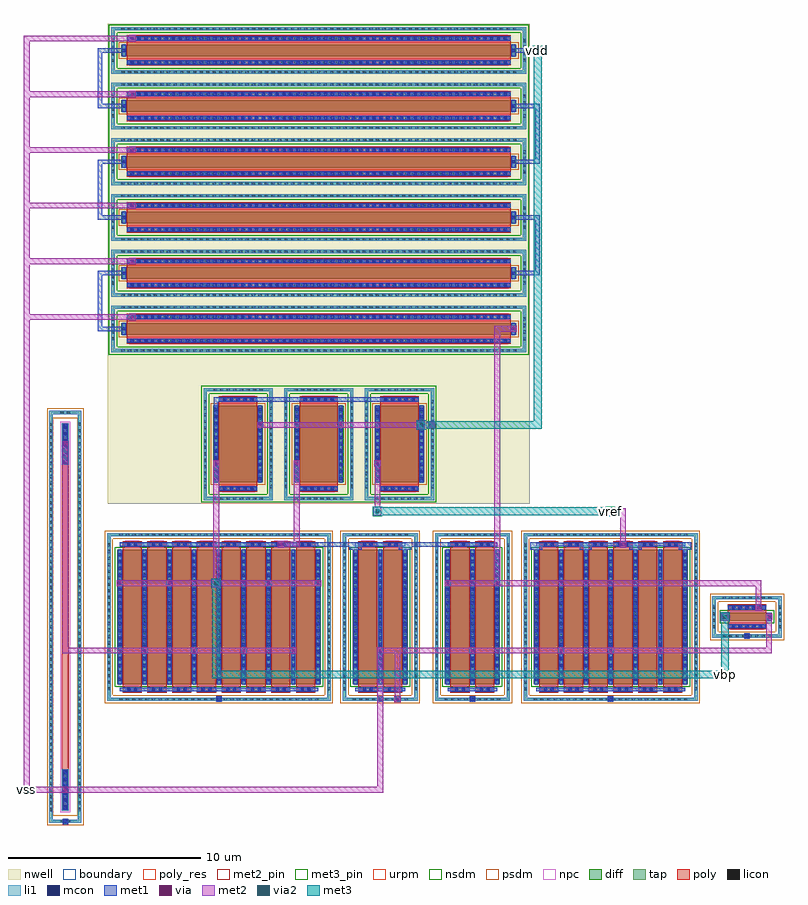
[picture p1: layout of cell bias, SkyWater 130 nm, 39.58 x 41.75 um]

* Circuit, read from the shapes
.subckt bias vbp vdd vref vss
XM1 rxh_16_0/R1 p4_2_11/D vbp vss sky130_fd_pr__nfet_01v8 w=7 l=1 m=8
XM2 vss p4_2_11/D p4_2_11/D vss sky130_fd_pr__nfet_01v8 w=7 l=1 m=2
XM3 vss p4_2_11/D p06_20_8/D vss sky130_fd_pr__nfet_01v8 w=7 l=1 m=2
XM4 vss vref vref vss sky130_fd_pr__nfet_01v8 w=7 l=1 m=6
XM5 vss p06_20_8/D vbp vss sky130_fd_pr__nfet_01v8 w=0.42 l=2
XM6 p06_20_8/D vss p06_20_7/D vdd sky130_fd_pr__pfet_01v8 w=0.6 l=20
XM7 p06_20_6/D vss p06_20_7/D vdd sky130_fd_pr__pfet_01v8 w=0.6 l=20
XM8 p06_20_6/D vss p06_20_5/D vdd sky130_fd_pr__pfet_01v8 w=0.6 l=20
XM9 p06_20_4/D vss p06_20_5/D vdd sky130_fd_pr__pfet_01v8 w=0.6 l=20
XM10 p06_20_4/D vss p06_20_3/D vdd sky130_fd_pr__pfet_01v8 w=0.6 l=20
XM11 vdd vss p06_20_3/D vdd sky130_fd_pr__pfet_01v8 w=0.6 l=20
XM12 vdd vbp vbp vdd sky130_fd_pr__pfet_01v8 w=4 l=2
XM13 vdd vbp p4_2_11/D vdd sky130_fd_pr__pfet_01v8 w=4 l=2
XM14 vdd vbp vref vdd sky130_fd_pr__pfet_01v8 w=4 l=2
XR15 rxh_16_0/R1 vss vss sky130_fd_pr__res_xhigh_po w=0.35 l=15.88
.ends

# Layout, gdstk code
from math import pi, radians
import gdstk
lib = gdstk.Library(unit=1e-6, precision=1e-09)
def R(c, l, rs):  # rectangles x0, y0, x1, y1
    for r in rs: c.add(gdstk.rectangle(r[:2], r[2:], *l))
def A(c, l, x, y, w, h, nx, ny, dx, dy):  # array of equal rectangles
    R(c, l, [(x+i*dx, y+j*dy, x+i*dx+w, y+j*dy+h) for i in range(nx) for j in range(ny)])
nwell = (64, 20)
diff = (65, 20)
tap = (65, 44)
poly_res = (66, 13)
poly = (66, 20)
licon = (66, 44)
li1 = (67, 20)
mcon = (67, 44)
met1 = (68, 20)
via = (68, 44)
met2_pin = (69, 16)
met2 = (69, 20)
via2 = (69, 44)
met3_pin = (70, 16)
met3 = (70, 20)
urpm = (79, 20)
nsdm = (93, 44)
psdm = (94, 20)
npc = (95, 20)
boundary = (235, 4)

rxh_16 = lib.new_cell('rxh_16')
R(rxh_16, tap, [(-0.825,-10.73,0.825,-10.56), (-0.825,-10.56,-0.655,10.56), (0.655,-10.56,0.825,10.56), (-0.825,10.56,0.825,10.73)])
R(rxh_16, poly_res, [(-0.175,-8,0.175,8)])
R(rxh_16, poly, [(-0.175,-10.08,0.175,10.08)])
A(rxh_16, licon, -0.825, -10.115, 0.17, 0.17, 1, 60, 0, 0.34)
A(rxh_16, licon, 0.655, -10.115, 0.17, 0.17, 1, 60, 0, 0.34)
R(rxh_16, licon, [(-0.255,-10.73,-0.085,-10.56), (0.085,-10.73,0.255,-10.56), (-0.095,-10,0.095,-8), (-0.095,8,0.095,10), (-0.255,10.56,-0.085,10.73), (0.085,10.56,0.255,10.73)])
R(rxh_16, li1, [(-0.825,-10.73,0.825,-10.56), (-0.825,-10.56,-0.655,10.56), (0.655,-10.56,0.825,10.56), (-0.175,-10.08,0.175,-7.92), (-0.175,7.92,0.175,10.08), (-0.825,10.56,0.825,10.73)])
A(rxh_16, mcon, -0.085, -9.985, 0.17, 0.17, 1, 6, 0, 0.36)
A(rxh_16, mcon, -0.085, 8.01, 0.17, 0.17, 1, 6, 0, 0.36)
R(rxh_16, met1, [(-0.125,-10.05,0.125,-7.945), (-0.125,7.945,0.125,10.05)])
R(rxh_16, urpm, [(-0.65,-10.36,0.65,10.36)])
R(rxh_16, psdm, [(-0.95,-10.855,0.95,10.855)])
R(rxh_16, npc, [(-0.27,-10.175,0.27,10.175)])
R(rxh_16, boundary, [(-0.74,-10.645,0.74,10.645)])
rxh_16.add(gdstk.Label('B', (0,-10.645), layer=67, texttype=5))
rxh_16.add(gdstk.Label('R1', (0,9.905), layer=67, texttype=5))
rxh_16.add(gdstk.Label('R2', (0,-9.905), layer=67, texttype=5))

n042_2 = lib.new_cell('n042_2')
R(n042_2, diff, [(-1.29,-0.21,1.29,0.21)])
R(n042_2, tap, [(-1.8,-1.08,1.8,-0.91), (-1.8,-0.91,-1.63,0.91), (1.63,-0.91,1.8,0.91), (-1.8,0.91,1.8,1.08)])
R(n042_2, poly, [(-1,-0.65,1,0.65)])
A(n042_2, licon, -1.275, -1.08, 0.17, 0.17, 8, 2, 0.34, 1.99)
A(n042_2, licon, -1.8, -0.595, 0.17, 0.17, 1, 4, 0, 0.34)
A(n042_2, licon, 1.63, -0.595, 0.17, 0.17, 1, 4, 0, 0.34)
A(n042_2, licon, -0.765, -0.57, 0.17, 0.17, 5, 2, 0.34, 0.97)
R(n042_2, licon, [(-1.23,-0.085,-1.06,0.085), (1.06,-0.085,1.23,0.085)])
R(n042_2, li1, [(-1.8,-1.08,1.8,-0.91), (-1.8,-0.91,-1.63,0.91), (1.63,-0.91,1.8,0.91), (-1,-0.57,1,-0.4), (-1.23,-0.23,-1.06,0.23), (1.06,-0.23,1.23,0.23), (-1,0.4,1,0.57), (-1.8,0.91,1.8,1.08)])
A(n042_2, mcon, -0.805, -0.57, 0.17, 0.17, 5, 2, 0.36, 0.97)
R(n042_2, mcon, [(-1.23,-0.085,-1.06,0.085), (1.06,-0.085,1.23,0.085)])
R(n042_2, met1, [(-0.98,-0.6,0.98,-0.37), (-1.26,-0.21,-1.03,0.21), (1.03,-0.21,1.26,0.21), (-0.98,0.37,0.98,0.6)])
R(n042_2, nsdm, [(-1.415,-0.335,1.415,0.335)])
R(n042_2, psdm, [(-1.925,-1.205,1.925,-0.785), (-1.925,-0.785,-1.505,0.785), (1.505,-0.785,1.925,0.785), (-1.925,0.785,1.925,1.205)])
R(n042_2, npc, [(-0.865,-0.67,0.865,-0.3), (-0.865,0.3,0.865,0.67)])
R(n042_2, boundary, [(-1.715,-0.995,1.715,0.995)])
n042_2.add(gdstk.Label('B', (0,-0.995), layer=67, texttype=5))
n042_2.add(gdstk.Label('D', (-1.145,0), layer=67, texttype=5))
n042_2.add(gdstk.Label('S', (1.145,0), layer=67, texttype=5))
n042_2.add(gdstk.Label('G', (0,0.485), layer=67, texttype=5))

n7_1_nf2 = lib.new_cell('n7_1_nf2')
R(n7_1_nf2, diff, [(-1.435,-3.5,1.435,3.5)])
R(n7_1_nf2, tap, [(-1.945,-4.37,1.945,-4.2), (-1.945,-4.2,-1.775,4.2), (1.775,-4.2,1.945,4.2), (-1.945,4.2,1.945,4.37)])
R(n7_1_nf2, poly, [(-1.145,-3.94,-0.145,3.94), (0.145,-3.94,1.145,3.94)])
A(n7_1_nf2, licon, -1.445, -4.37, 0.17, 0.17, 9, 2, 0.34, 8.57)
A(n7_1_nf2, licon, -1.945, -3.825, 0.17, 0.17, 1, 23, 0, 0.34)
A(n7_1_nf2, licon, 1.775, -3.825, 0.17, 0.17, 1, 23, 0, 0.34)
A(n7_1_nf2, licon, -1.375, -3.315, 0.17, 0.17, 3, 20, 1.29, 0.34)
R(n7_1_nf2, licon, [(-0.9,-3.86,-0.73,-3.69), (-0.56,-3.86,-0.39,-3.69), (0.39,-3.86,0.56,-3.69), (0.73,-3.86,0.9,-3.69), (-0.9,3.69,-0.73,3.86), (-0.56,3.69,-0.39,3.86), (0.39,3.69,0.56,3.86), (0.73,3.69,0.9,3.86)])
A(n7_1_nf2, li1, -1.375, -3.52, 0.17, 7.04, 3, 1, 1.29, 0)
R(n7_1_nf2, li1, [(-1.945,-4.37,1.945,-4.2), (-1.945,-4.2,-1.775,4.2), (1.775,-4.2,1.945,4.2), (-1.29,-3.86,1.29,-3.69), (-1.29,3.69,1.29,3.86), (-1.945,4.2,1.945,4.37)])
A(n7_1_nf2, mcon, -1.375, -3.325, 0.17, 0.17, 3, 19, 1.29, 0.36)
R(n7_1_nf2, mcon, [(-0.91,-3.86,-0.74,-3.69), (-0.55,-3.86,-0.38,-3.69), (0.38,-3.86,0.55,-3.69), (0.74,-3.86,0.91,-3.69), (-0.91,3.69,-0.74,3.86), (-0.55,3.69,-0.38,3.86), (0.38,3.69,0.55,3.86), (0.74,3.69,0.91,3.86)])
A(n7_1_nf2, met1, -1.405, -3.5, 0.23, 7, 3, 1, 1.29, 0)
R(n7_1_nf2, met1, [(-1.125,-3.89,-0.165,-3.86), (0.165,-3.89,1.125,-3.86), (-1.29,-3.86,1.29,-3.69), (-1.125,-3.69,-0.165,-3.66), (0.165,-3.69,1.125,-3.66), (-1.125,3.66,-0.165,3.69), (0.165,3.66,1.125,3.69), (-1.29,3.69,1.29,3.86), (-1.125,3.86,-0.165,3.89), (0.165,3.86,1.125,3.89)])
R(n7_1_nf2, nsdm, [(-1.56,-3.625,1.56,3.625)])
R(n7_1_nf2, psdm, [(-2.07,-4.495,2.07,-4.075), (-2.07,-4.075,-1.65,4.075), (1.65,-4.075,2.07,4.075), (-2.07,4.075,2.07,4.495)])
R(n7_1_nf2, npc, [(-1,-3.96,-0.29,-3.59), (0.29,-3.96,1,-3.59), (-1,3.59,-0.29,3.96), (0.29,3.59,1,3.96)])
R(n7_1_nf2, boundary, [(-1.86,-4.285,1.86,4.285)])
n7_1_nf2.add(gdstk.Label('B', (0,-4.285), layer=67, texttype=5))
n7_1_nf2.add(gdstk.Label('D0', (-1.29,0), layer=67, texttype=5))
n7_1_nf2.add(gdstk.Label('G', (0.645,3.775), layer=67, texttype=5))
n7_1_nf2.add(gdstk.Label('G', (-0.645,3.775), layer=67, texttype=5))
n7_1_nf2.add(gdstk.Label('S1', (0,0), layer=67, texttype=5))

p06_20 = lib.new_cell('p06_20')
R(p06_20, nwell, [(-10.98,-1.395,10.98,1.395)])
R(p06_20, diff, [(-10.29,-0.3,10.29,0.3)])
R(p06_20, tap, [(-10.8,-1.215,10.8,-1.045), (-10.8,-1.045,-10.63,1.045), (10.63,-1.045,10.8,1.045), (-10.8,1.045,10.8,1.215)])
R(p06_20, poly, [(-10,-0.785,10,0.785)])
A(p06_20, licon, -10.285, -1.215, 0.17, 0.17, 61, 2, 0.34, 2.26)
A(p06_20, licon, -9.775, -0.705, 0.17, 0.17, 58, 2, 0.34, 1.24)
A(p06_20, licon, -10.8, -0.595, 0.17, 0.17, 1, 4, 0, 0.34)
A(p06_20, licon, 10.63, -0.595, 0.17, 0.17, 1, 4, 0, 0.34)
R(p06_20, licon, [(-10.23,-0.085,-10.06,0.085), (10.06,-0.085,10.23,0.085)])
R(p06_20, li1, [(-10.8,-1.215,10.8,-1.045), (-10.8,-1.045,-10.63,1.045), (10.63,-1.045,10.8,1.045), (-10,-0.705,10,-0.535), (-10.23,-0.32,-10.06,0.32), (10.06,-0.32,10.23,0.32), (-10,0.535,10,0.705), (-10.8,1.045,10.8,1.215)])
A(p06_20, mcon, -9.805, -0.705, 0.17, 0.17, 55, 2, 0.36, 1.24)
R(p06_20, mcon, [(-10.23,-0.085,-10.06,0.085), (10.06,-0.085,10.23,0.085)])
R(p06_20, met1, [(-9.98,-0.735,9.98,-0.505), (-10.26,-0.3,-10.03,0.3), (10.03,-0.3,10.26,0.3), (-9.98,0.505,9.98,0.735)])
R(p06_20, nsdm, [(-10.925,-1.34,10.925,-0.92), (-10.925,-0.92,-10.505,0.92), (10.505,-0.92,10.925,0.92), (-10.925,0.92,10.925,1.34)])
R(p06_20, psdm, [(-10.415,-0.425,10.415,0.425)])
R(p06_20, npc, [(-9.875,-0.805,9.875,-0.435), (-9.875,0.435,9.875,0.805)])
R(p06_20, boundary, [(-10.715,-1.13,10.715,1.13)])
p06_20.add(gdstk.Label('B', (0,-1.13), layer=67, texttype=5))
p06_20.add(gdstk.Label('D', (-10.145,0), layer=67, texttype=5))
p06_20.add(gdstk.Label('S', (10.145,0), layer=67, texttype=5))
p06_20.add(gdstk.Label('G', (0,0.62), layer=67, texttype=5))

n7_1_nf6 = lib.new_cell('n7_1_nf6')
R(n7_1_nf6, diff, [(-4.015,-3.5,4.015,3.5)])
R(n7_1_nf6, tap, [(-4.525,-4.37,4.525,-4.2), (-4.525,-4.2,-4.355,4.2), (4.355,-4.2,4.525,4.2), (-4.525,4.2,4.525,4.37)])
A(n7_1_nf6, poly, -3.725, -3.94, 1, 7.88, 6, 1, 1.29, 0)
A(n7_1_nf6, licon, -3.995, -4.37, 0.17, 0.17, 24, 2, 0.34, 8.57)
A(n7_1_nf6, licon, -4.525, -3.825, 0.17, 0.17, 1, 23, 0, 0.34)
A(n7_1_nf6, licon, 4.355, -3.825, 0.17, 0.17, 1, 23, 0, 0.34)
A(n7_1_nf6, licon, -3.955, -3.315, 0.17, 0.17, 7, 20, 1.29, 0.34)
R(n7_1_nf6, licon, [(-3.48,-3.86,-3.31,-3.69), (-3.14,-3.86,-2.97,-3.69), (-2.19,-3.86,-2.02,-3.69), (-1.85,-3.86,-1.68,-3.69), (-0.9,-3.86,-0.73,-3.69), (-0.56,-3.86,-0.39,-3.69), (0.39,-3.86,0.56,-3.69), (0.73,-3.86,0.9,-3.69), (1.68,-3.86,1.85,-3.69), (2.02,-3.86,2.19,-3.69), (2.97,-3.86,3.14,-3.69), (3.31,-3.86,3.48,-3.69), (-3.48,3.69,-3.31,3.86), (-3.14,3.69,-2.97,3.86), (-2.19,3.69,-2.02,3.86), (-1.85,3.69,-1.68,3.86), (-0.9,3.69,-0.73,3.86), (-0.56,3.69,-0.39,3.86), (0.39,3.69,0.56,3.86), (0.73,3.69,0.9,3.86), (1.68,3.69,1.85,3.86), (2.02,3.69,2.19,3.86), (2.97,3.69,3.14,3.86), (3.31,3.69,3.48,3.86)])
A(n7_1_nf6, li1, -3.955, -3.52, 0.17, 7.04, 7, 1, 1.29, 0)
R(n7_1_nf6, li1, [(-4.525,-4.37,4.525,-4.2), (-4.525,-4.2,-4.355,4.2), (4.355,-4.2,4.525,4.2), (-3.87,-3.86,3.87,-3.69), (-3.87,3.69,3.87,3.86), (-4.525,4.2,4.525,4.37)])
A(n7_1_nf6, mcon, -3.955, -3.325, 0.17, 0.17, 7, 19, 1.29, 0.36)
R(n7_1_nf6, mcon, [(-3.49,-3.86,-3.32,-3.69), (-3.13,-3.86,-2.96,-3.69), (-2.2,-3.86,-2.03,-3.69), (-1.84,-3.86,-1.67,-3.69), (-0.91,-3.86,-0.74,-3.69), (-0.55,-3.86,-0.38,-3.69), (0.38,-3.86,0.55,-3.69), (0.74,-3.86,0.91,-3.69), (1.67,-3.86,1.84,-3.69), (2.03,-3.86,2.2,-3.69), (2.96,-3.86,3.13,-3.69), (3.32,-3.86,3.49,-3.69), (-3.49,3.69,-3.32,3.86), (-3.13,3.69,-2.96,3.86), (-2.2,3.69,-2.03,3.86), (-1.84,3.69,-1.67,3.86), (-0.91,3.69,-0.74,3.86), (-0.55,3.69,-0.38,3.86), (0.38,3.69,0.55,3.86), (0.74,3.69,0.91,3.86), (1.67,3.69,1.84,3.86), (2.03,3.69,2.2,3.86), (2.96,3.69,3.13,3.86), (3.32,3.69,3.49,3.86)])
A(n7_1_nf6, met1, -3.705, -3.89, 0.96, 0.03, 6, 2, 1.29, 0.2)
A(n7_1_nf6, met1, -3.985, -3.5, 0.23, 7, 7, 1, 1.29, 0)
A(n7_1_nf6, met1, -3.705, 3.66, 0.96, 0.03, 6, 2, 1.29, 0.2)
R(n7_1_nf6, met1, [(-3.87,-3.86,3.87,-3.69), (-3.87,3.69,3.87,3.86)])
R(n7_1_nf6, nsdm, [(-4.14,-3.625,4.14,3.625)])
R(n7_1_nf6, psdm, [(-4.65,-4.495,4.65,-4.075), (-4.65,-4.075,-4.23,4.075), (4.23,-4.075,4.65,4.075), (-4.65,4.075,4.65,4.495)])
A(n7_1_nf6, npc, -3.58, -3.96, 0.71, 0.37, 6, 2, 1.29, 7.55)
R(n7_1_nf6, boundary, [(-4.44,-4.285,4.44,4.285)])
n7_1_nf6.add(gdstk.Label('B', (0,-4.285), layer=67, texttype=5))
n7_1_nf6.add(gdstk.Label('D0', (-3.87,0), layer=67, texttype=5))
n7_1_nf6.add(gdstk.Label('G', (3.225,3.775), layer=67, texttype=5))
n7_1_nf6.add(gdstk.Label('G', (1.935,3.775), layer=67, texttype=5))
n7_1_nf6.add(gdstk.Label('G', (0.645,3.775), layer=67, texttype=5))
n7_1_nf6.add(gdstk.Label('G', (-0.645,3.775), layer=67, texttype=5))
n7_1_nf6.add(gdstk.Label('G', (-1.935,3.775), layer=67, texttype=5))
n7_1_nf6.add(gdstk.Label('G', (-3.225,3.775), layer=67, texttype=5))
n7_1_nf6.add(gdstk.Label('S1', (-2.58,0), layer=67, texttype=5))
n7_1_nf6.add(gdstk.Label('D2', (-1.29,0), layer=67, texttype=5))
n7_1_nf6.add(gdstk.Label('S3', (0,0), layer=67, texttype=5))
n7_1_nf6.add(gdstk.Label('D4', (1.29,0), layer=67, texttype=5))
n7_1_nf6.add(gdstk.Label('S5', (2.58,0), layer=67, texttype=5))

p4_2 = lib.new_cell('p4_2')
R(p4_2, nwell, [(-1.98,-3.095,1.98,3.095)])
R(p4_2, diff, [(-1.29,-2,1.29,2)])
R(p4_2, tap, [(-1.8,-2.915,1.8,-2.745), (-1.8,-2.745,-1.63,2.745), (1.63,-2.745,1.8,2.745), (-1.8,2.745,1.8,2.915)])
R(p4_2, poly, [(-1,-2.485,1,2.485)])
A(p4_2, licon, -1.275, -2.915, 0.17, 0.17, 8, 2, 0.34, 5.66)
A(p4_2, licon, -0.765, -2.405, 0.17, 0.17, 5, 2, 0.34, 4.64)
A(p4_2, licon, -1.8, -2.295, 0.17, 0.17, 1, 14, 0, 0.34)
A(p4_2, licon, 1.63, -2.295, 0.17, 0.17, 1, 14, 0, 0.34)
A(p4_2, licon, -1.23, -1.785, 0.17, 0.17, 1, 11, 0, 0.34)
A(p4_2, licon, 1.06, -1.785, 0.17, 0.17, 1, 11, 0, 0.34)
R(p4_2, li1, [(-1.8,-2.915,1.8,-2.745), (-1.8,-2.745,-1.63,2.745), (1.63,-2.745,1.8,2.745), (-1,-2.405,1,-2.235), (-1.23,-2.02,-1.06,2.02), (1.06,-2.02,1.23,2.02), (-1,2.235,1,2.405), (-1.8,2.745,1.8,2.915)])
A(p4_2, mcon, -0.805, -2.405, 0.17, 0.17, 5, 2, 0.36, 4.64)
A(p4_2, mcon, -1.23, -1.885, 0.17, 0.17, 1, 11, 0, 0.36)
A(p4_2, mcon, 1.06, -1.885, 0.17, 0.17, 1, 11, 0, 0.36)
R(p4_2, met1, [(-0.98,-2.435,0.98,-2.205), (-1.26,-2,-1.03,2), (1.03,-2,1.26,2), (-0.98,2.205,0.98,2.435)])
R(p4_2, nsdm, [(-1.925,-3.04,1.925,-2.62), (-1.925,-2.62,-1.505,2.62), (1.505,-2.62,1.925,2.62), (-1.925,2.62,1.925,3.04)])
R(p4_2, psdm, [(-1.415,-2.125,1.415,2.125)])
R(p4_2, npc, [(-0.865,-2.505,0.865,-2.135), (-0.865,2.135,0.865,2.505)])
R(p4_2, boundary, [(-1.715,-2.83,1.715,2.83)])
p4_2.add(gdstk.Label('B', (0,-2.83), layer=67, texttype=5))
p4_2.add(gdstk.Label('D', (-1.145,0), layer=67, texttype=5))
p4_2.add(gdstk.Label('S', (1.145,0), layer=67, texttype=5))
p4_2.add(gdstk.Label('G', (0,2.32), layer=67, texttype=5))

n7_1_nf8 = lib.new_cell('n7_1_nf8')
R(n7_1_nf8, diff, [(-5.305,-3.5,5.305,3.5)])
R(n7_1_nf8, tap, [(-5.815,-4.37,5.815,-4.2), (-5.815,-4.2,-5.645,4.2), (5.645,-4.2,5.815,4.2), (-5.815,4.2,5.815,4.37)])
A(n7_1_nf8, poly, -5.015, -3.94, 1, 7.88, 8, 1, 1.29, 0)
A(n7_1_nf8, licon, -5.185, -4.37, 0.17, 0.17, 31, 2, 0.34, 8.57)
A(n7_1_nf8, licon, -5.815, -3.825, 0.17, 0.17, 1, 23, 0, 0.34)
A(n7_1_nf8, licon, 5.645, -3.825, 0.17, 0.17, 1, 23, 0, 0.34)
A(n7_1_nf8, licon, -5.245, -3.315, 0.17, 0.17, 9, 20, 1.29, 0.34)
R(n7_1_nf8, licon, [(-4.77,-3.86,-4.6,-3.69), (-4.43,-3.86,-4.26,-3.69), (-3.48,-3.86,-3.31,-3.69), (-3.14,-3.86,-2.97,-3.69), (-2.19,-3.86,-2.02,-3.69), (-1.85,-3.86,-1.68,-3.69), (-0.9,-3.86,-0.73,-3.69), (-0.56,-3.86,-0.39,-3.69), (0.39,-3.86,0.56,-3.69), (0.73,-3.86,0.9,-3.69), (1.68,-3.86,1.85,-3.69), (2.02,-3.86,2.19,-3.69), (2.97,-3.86,3.14,-3.69), (3.31,-3.86,3.48,-3.69), (4.26,-3.86,4.43,-3.69), (4.6,-3.86,4.77,-3.69), (-4.77,3.69,-4.6,3.86), (-4.43,3.69,-4.26,3.86), (-3.48,3.69,-3.31,3.86), (-3.14,3.69,-2.97,3.86), (-2.19,3.69,-2.02,3.86), (-1.85,3.69,-1.68,3.86), (-0.9,3.69,-0.73,3.86), (-0.56,3.69,-0.39,3.86), (0.39,3.69,0.56,3.86), (0.73,3.69,0.9,3.86), (1.68,3.69,1.85,3.86), (2.02,3.69,2.19,3.86), (2.97,3.69,3.14,3.86), (3.31,3.69,3.48,3.86), (4.26,3.69,4.43,3.86), (4.6,3.69,4.77,3.86)])
A(n7_1_nf8, li1, -5.245, -3.52, 0.17, 7.04, 9, 1, 1.29, 0)
R(n7_1_nf8, li1, [(-5.815,-4.37,5.815,-4.2), (-5.815,-4.2,-5.645,4.2), (5.645,-4.2,5.815,4.2), (-5.16,-3.86,5.16,-3.69), (-5.16,3.69,5.16,3.86), (-5.815,4.2,5.815,4.37)])
A(n7_1_nf8, mcon, -5.245, -3.325, 0.17, 0.17, 9, 19, 1.29, 0.36)
R(n7_1_nf8, mcon, [(-4.78,-3.86,-4.61,-3.69), (-4.42,-3.86,-4.25,-3.69), (-3.49,-3.86,-3.32,-3.69), (-3.13,-3.86,-2.96,-3.69), (-2.2,-3.86,-2.03,-3.69), (-1.84,-3.86,-1.67,-3.69), (-0.91,-3.86,-0.74,-3.69), (-0.55,-3.86,-0.38,-3.69), (0.38,-3.86,0.55,-3.69), (0.74,-3.86,0.91,-3.69), (1.67,-3.86,1.84,-3.69), (2.03,-3.86,2.2,-3.69), (2.96,-3.86,3.13,-3.69), (3.32,-3.86,3.49,-3.69), (4.25,-3.86,4.42,-3.69), (4.61,-3.86,4.78,-3.69), (-4.78,3.69,-4.61,3.86), (-4.42,3.69,-4.25,3.86), (-3.49,3.69,-3.32,3.86), (-3.13,3.69,-2.96,3.86), (-2.2,3.69,-2.03,3.86), (-1.84,3.69,-1.67,3.86), (-0.91,3.69,-0.74,3.86), (-0.55,3.69,-0.38,3.86), (0.38,3.69,0.55,3.86), (0.74,3.69,0.91,3.86), (1.67,3.69,1.84,3.86), (2.03,3.69,2.2,3.86), (2.96,3.69,3.13,3.86), (3.32,3.69,3.49,3.86), (4.25,3.69,4.42,3.86), (4.61,3.69,4.78,3.86)])
A(n7_1_nf8, met1, -4.995, -3.89, 0.96, 0.03, 8, 2, 1.29, 0.2)
A(n7_1_nf8, met1, -5.275, -3.5, 0.23, 7, 9, 1, 1.29, 0)
A(n7_1_nf8, met1, -4.995, 3.66, 0.96, 0.03, 8, 2, 1.29, 0.2)
R(n7_1_nf8, met1, [(-5.16,-3.86,5.16,-3.69), (-5.16,3.69,5.16,3.86)])
R(n7_1_nf8, nsdm, [(-5.43,-3.625,5.43,3.625)])
R(n7_1_nf8, psdm, [(-5.94,-4.495,5.94,-4.075), (-5.94,-4.075,-5.52,4.075), (5.52,-4.075,5.94,4.075), (-5.94,4.075,5.94,4.495)])
A(n7_1_nf8, npc, -4.87, -3.96, 0.71, 0.37, 8, 2, 1.29, 7.55)
R(n7_1_nf8, boundary, [(-5.73,-4.285,5.73,4.285)])
n7_1_nf8.add(gdstk.Label('B', (0,-4.285), layer=67, texttype=5))
n7_1_nf8.add(gdstk.Label('D0', (-5.16,0), layer=67, texttype=5))
n7_1_nf8.add(gdstk.Label('G', (4.515,3.775), layer=67, texttype=5))
n7_1_nf8.add(gdstk.Label('G', (3.225,3.775), layer=67, texttype=5))
n7_1_nf8.add(gdstk.Label('G', (1.935,3.775), layer=67, texttype=5))
n7_1_nf8.add(gdstk.Label('G', (0.645,3.775), layer=67, texttype=5))
n7_1_nf8.add(gdstk.Label('G', (-0.645,3.775), layer=67, texttype=5))
n7_1_nf8.add(gdstk.Label('G', (-1.935,3.775), layer=67, texttype=5))
n7_1_nf8.add(gdstk.Label('G', (-3.225,3.775), layer=67, texttype=5))
n7_1_nf8.add(gdstk.Label('G', (-4.515,3.775), layer=67, texttype=5))
n7_1_nf8.add(gdstk.Label('S1', (-3.87,0), layer=67, texttype=5))
n7_1_nf8.add(gdstk.Label('D2', (-2.58,0), layer=67, texttype=5))
n7_1_nf8.add(gdstk.Label('S3', (-1.29,0), layer=67, texttype=5))
n7_1_nf8.add(gdstk.Label('D4', (0,0), layer=67, texttype=5))
n7_1_nf8.add(gdstk.Label('S5', (1.29,0), layer=67, texttype=5))
n7_1_nf8.add(gdstk.Label('D6', (2.58,0), layer=67, texttype=5))
n7_1_nf8.add(gdstk.Label('S7', (3.87,0), layer=67, texttype=5))

bias = lib.new_cell('bias')
R(bias, nwell, [(-6.78,-3.095,15.18,21.895)])
R(bias, li1, [(-9.125,-19.77,-8.875,-19.52), (-1.125,-13.41,-0.875,-13.16), (7.275,-13.41,7.525,-13.16), (8.175,-13.41,8.425,-13.16), (12.075,-13.41,12.325,-13.16), (19.275,-13.41,19.525,-13.16), (26.375,-10.12,26.625,-9.87), (9.99,0.875,10.24,1.125)])
R(bias, mcon, [(-9.085,-19.73,-8.915,-19.56), (-1.085,-13.37,-0.915,-13.2), (7.315,-13.37,7.485,-13.2), (8.215,-13.37,8.385,-13.2), (12.115,-13.37,12.285,-13.2), (19.315,-13.37,19.485,-13.2), (26.415,-10.08,26.585,-9.91), (10.03,0.915,10.2,1.085)])
A(bias, met1, -5.03, -10.91, 0.32, 0.32, 4, 1, 2.58, 0)
A(bias, met1, 16.66, -10.91, 0.32, 0.32, 3, 1, 2.58, 0)
A(bias, met1, -6.32, -7.41, 0.32, 0.32, 5, 1, 2.58, 0)
A(bias, met1, 15.215, -5.51, 0.63, 0.4, 4, 1, 2.58, 0)
A(bias, met1, -1.305, -1.16, 0.32, 0.32, 3, 1, 4.2, 0)
A(bias, met1, 0.985, 0.84, 0.32, 0.32, 3, 1, 4.2, 0)
A(bias, met1, -7.315, 5.885, 1.485, 0.23, 1, 6, 0, 2.9)
A(bias, met1, -7.315, 6.115, 0.23, 2.67, 1, 3, 0, 5.8)
A(bias, met1, -5.66, 6.46, 0.32, 0.32, 1, 6, 0, 2.9)
A(bias, met1, 14.23, 8.785, 1.485, 0.23, 1, 4, 0, 2.9)
R(bias, met1, [(-9.145,-19.79,-8.855,-19.5), (-9.16,-18.16,-8.84,-17.84), (8.14,-13.445,8.46,-13.125), (-1.145,-13.43,-0.855,-13.14), (7.255,-13.43,7.545,-13.14), (12.055,-13.43,12.345,-13.14), (19.255,-13.43,19.545,-13.14), (7.24,-10.91,7.56,-10.59), (12.04,-10.91,12.36,-10.59), (26.355,-10.14,26.645,-9.85), (25.195,-9.16,25.515,-8.84), (27.485,-9.16,27.805,-8.84), (26.94,-8.675,27.26,-8.355), (10.75,-7.41,11.07,-7.09), (13.33,-7.41,13.65,-7.09), (5.795,-5.51,6.425,-5.34), (8.375,-5.51,9.005,-5.34), (2.065,-5.385,2.385,-5.34), (19.885,-5.385,20.205,-5.065), (-6.175,-5.34,13.505,-5.11), (2.065,-5.11,2.385,-5.065), (-1.26,-2,-1.03,-1.16), (-1.26,-0.84,-1.03,2.205), (-9.16,-0.16,-8.84,0.16), (9.955,0.84,10.275,1.16), (-1.26,2.205,9.395,2.435), (14.185,5.84,14.505,6.16), (15.485,9.015,15.715,11.685), (15.485,14.815,15.715,17.485), (15.44,20.34,15.76,20.385), (14.23,20.385,15.76,20.615), (15.44,20.615,15.76,20.66)])
A(bias, via, -4.945, -10.825, 0.15, 0.15, 4, 1, 2.58, 0)
A(bias, via, 16.745, -10.825, 0.15, 0.15, 3, 1, 2.58, 0)
A(bias, via, -6.235, -7.325, 0.15, 0.15, 5, 1, 2.58, 0)
A(bias, via, -1.22, -1.075, 0.15, 0.15, 3, 1, 4.2, 0)
A(bias, via, 1.07, 0.925, 0.15, 0.15, 3, 1, 4.2, 0)
A(bias, via, -5.575, 6.545, 0.15, 0.15, 1, 6, 0, 2.9)
R(bias, via, [(-9.075,-18.075,-8.925,-17.925), (8.225,-13.36,8.375,-13.21), (7.325,-10.825,7.475,-10.675), (12.125,-10.825,12.275,-10.675), (25.28,-9.075,25.43,-8.925), (27.57,-9.075,27.72,-8.925), (27.025,-8.59,27.175,-8.44), (10.835,-7.325,10.985,-7.175), (13.415,-7.325,13.565,-7.175), (2.15,-5.3,2.3,-5.15), (19.97,-5.3,20.12,-5.15), (-9.075,-0.075,-8.925,0.075), (10.04,0.925,10.19,1.075), (14.27,5.925,14.42,6.075), (15.525,20.425,15.675,20.575)])
R(bias, met2_pin, [(-11.15,-18.15,-10.85,-17.85)])
A(bias, met2, -5.03, -10.91, 0.32, 0.01, 4, 2, 2.58, 0.31)
A(bias, met2, 16.66, -10.91, 0.32, 0.01, 3, 2, 2.58, 0.31)
A(bias, met2, -1.305, -1.16, 0.32, 0.32, 3, 1, 4.2, 0)
A(bias, met2, -11.15, 6.47, 5.81, 0.3, 1, 6, 0, 2.9)
A(bias, met2, -11.15, 6.77, 0.3, 2.6, 1, 5, 0, 2.9)
R(bias, met2, [(-9.16,-18.16,-8.84,-18.15), (-11.15,-18.15,7.55,-17.85), (-11.15,-17.85,-10.85,6.47), (-9.16,-17.85,-8.84,-17.84), (7.25,-17.85,7.55,-10.91), (8.14,-13.445,8.46,-13.125), (8.15,-13.125,8.45,-10.9), (7.24,-10.91,7.56,-10.9), (12.04,-10.91,12.36,-10.9), (-9.15,-10.9,3.03,-10.6), (7.24,-10.9,27.795,-10.6), (-9.15,-10.6,-8.85,-0.16), (7.24,-10.6,7.56,-10.59), (12.04,-10.6,12.36,-10.59), (27.495,-10.6,27.795,-9.16), (25.145,-9.21,25.565,-8.79), (27.485,-9.16,27.805,-8.84), (26.94,-8.675,27.26,-8.355), (26.95,-8.355,27.25,-7.4), (-1.355,-7.46,-0.935,-7.41), (-6.32,-7.41,-6,-7.4), (-3.74,-7.41,-3.42,-7.4), (-1.355,-7.41,-0.84,-7.4), (1.42,-7.41,1.74,-7.4), (4,-7.41,4.32,-7.4), (10.75,-7.41,11.07,-7.4), (13.33,-7.41,13.65,-7.4), (-6.32,-7.4,4.32,-7.1), (10.75,-7.4,27.25,-7.1), (-6.32,-7.1,-6,-7.09), (-3.74,-7.1,-3.42,-7.09), (-1.355,-7.1,-0.84,-7.09), (1.42,-7.1,1.74,-7.09), (4,-7.1,4.32,-7.09), (10.75,-7.1,11.07,-7.09), (13.33,-7.1,13.65,-7.09), (-1.355,-7.09,-0.935,-7.04), (13.34,-7.09,13.64,5.85), (-1.295,-7.04,-0.995,-1.16), (2.065,-5.385,2.385,-5.375), (19.885,-5.385,20.205,-5.065), (2.065,-5.375,3.205,-5.075), (2.065,-5.075,2.385,-5.065), (2.905,-5.075,3.205,-1.16), (19.895,-5.065,20.195,-3.65), (7.045,-3.71,7.465,-3.29), (19.19,-3.71,19.61,-3.65), (19.19,-3.65,20.195,-3.35), (19.19,-3.35,19.61,-3.29), (7.105,-3.29,7.405,-1.16), (-9.16,-0.16,-8.84,0.16), (9.335,0.79,9.755,0.85), (0.985,0.84,1.305,0.85), (5.185,0.84,5.505,0.85), (9.955,0.84,10.275,0.85), (0.985,0.85,10.275,1.15), (0.985,1.15,1.305,1.16), (5.185,1.15,5.505,1.16), (9.335,1.15,9.755,1.21), (9.955,1.15,10.275,1.16), (14.185,5.84,14.505,5.85), (13.34,5.85,14.505,6.15), (14.185,6.15,14.505,6.16), (-5.66,6.46,-5.34,6.47), (-5.66,6.77,-5.34,6.78), (-5.66,9.36,-5.34,9.37), (-5.66,9.67,-5.34,9.68), (-5.66,12.26,-5.34,12.27), (-5.66,12.57,-5.34,12.58), (-5.66,15.16,-5.34,15.17), (-5.66,15.47,-5.34,15.48), (-5.66,18.06,-5.34,18.07), (-5.66,18.37,-5.34,18.38), (15.39,20.29,15.81,20.71), (-5.66,20.96,-5.34,20.97), (-5.66,21.27,-5.34,21.28)])
R(bias, via2, [(25.255,-9.1,25.455,-8.9), (-1.245,-7.35,-1.045,-7.15), (7.155,-3.6,7.355,-3.4), (19.3,-3.6,19.5,-3.4), (9.445,0.9,9.645,1.1), (15.5,20.4,15.7,20.6)])
R(bias, met3_pin, [(25.155,-12.2,25.555,-11.8), (19.25,-3.65,19.55,-3.35), (15.4,20.3,15.8,20.7)])
R(bias, met3, [(-1.345,-12.2,25.555,-11.8), (-1.345,-11.8,-0.945,-7.5), (25.155,-11.8,25.555,-9.25), (25.105,-9.25,25.605,-8.75), (-1.395,-7.5,-0.895,-7), (7.005,-3.75,7.505,-3.7), (19.15,-3.75,19.65,-3.7), (7.005,-3.7,19.65,-3.3), (7.005,-3.3,7.505,-3.25), (19.15,-3.3,19.65,-3.25), (9.295,0.75,9.795,0.8), (9.295,0.8,15.8,1.2), (9.295,1.2,9.795,1.25), (15.4,1.2,15.8,20.25), (15.35,20.25,15.85,20.75)])
A(bias, nsdm, -6.725, 7.34, 21.85, 0.22, 1, 5, 0, 2.9)
R(bias, nsdm, [(1.925,-3.04,2.275,3.04), (6.125,-3.04,6.475,3.04)])
bias.add(gdstk.Reference(rxh_16, (-9,-9)))
bias.add(gdstk.Reference(n042_2, (26.5,-9)))
bias.add(gdstk.Reference(n7_1_nf2, (12.2,-9)))
bias.add(gdstk.Reference(p06_20, (4.2,20.5)))
bias.add(gdstk.Reference(p06_20, (4.2,17.6), rotation=pi, x_reflection=True))
bias.add(gdstk.Reference(p06_20, (4.2,14.7)))
bias.add(gdstk.Reference(p06_20, (4.2,11.8), rotation=pi, x_reflection=True))
bias.add(gdstk.Reference(p06_20, (4.2,8.9)))
bias.add(gdstk.Reference(p06_20, (4.2,6), rotation=pi, x_reflection=True))
bias.add(gdstk.Reference(n7_1_nf6, (19.4,-9)))
bias.add(gdstk.Reference(p4_2, (8.4,0)))
bias.add(gdstk.Reference(p4_2, (4.2,0)))
bias.add(gdstk.Reference(p4_2, (0,0)))
bias.add(gdstk.Reference(n7_1_nf2, (7.4,-9)))
bias.add(gdstk.Reference(n7_1_nf8, (-1,-9)))
bias.add(gdstk.Label('vdd', (15.6,20.5), layer=70, texttype=5))
bias.add(gdstk.Label('vss', (-11,-18), layer=69, texttype=5))
bias.add(gdstk.Label('vbp', (25.355,-12), layer=70, texttype=5))
bias.add(gdstk.Label('vref', (19.4,-3.5), layer=70, texttype=5))

lib.write_gds('bias.gds')
